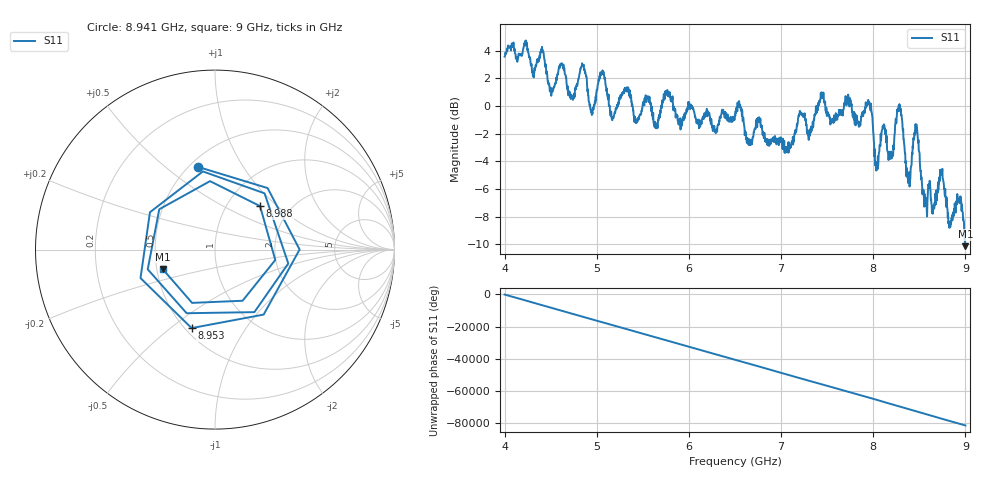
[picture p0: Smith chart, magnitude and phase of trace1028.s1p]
! Created with skrf 1.8.0 (http://scikit-rf.org).
# Hz S RI R 50.0
!freq ReS11 ImS11
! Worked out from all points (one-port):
!   1601 points, 4 GHz to 9 GHz, reference 50 ohm
!   lowest |S11| = -10.1 dB at 9 GHz (marker M1), VSWR 1.91, Z = 26.8 - j6.4 ohm
!   |S11| at or under -10 dB: 8.998785 GHz to end of sweep
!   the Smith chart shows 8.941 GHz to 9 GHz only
!   S11 on the Smith chart (normalised r, x): 8.941 GHz: 0.55, +0.65; 8.953 GHz: 0.54, -0.60; 8.988 GHz: 1.42, +0.78; 9 GHz: 0.54, -0.13
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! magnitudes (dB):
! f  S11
! 4 GHz  3.6
! 4.403 GHz  4.0
! 4.512 GHz  1.1
! 4.625 GHz  3.0
! 4.734 GHz  0.6
! 4.853 GHz  2.9
! 4.947 GHz  -0.6
! 5.053 GHz  2.4
! 5.162 GHz  -0.9
! 5.25 GHz  0.5
! 5.875 GHz  -0.7
! 6.5 GHz  -0.6
! 7.125 GHz  -2.7
! 7.75 GHz  0.2
! 7.959 GHz  0.2
! 8.038 GHz  -4.6
! 8.112 GHz  -1.5
! 8.191 GHz  -3.7
! 8.288 GHz  0.0
! 8.375 GHz  -5.2
! 8.459 GHz  -1.3
! 8.559 GHz  -6.8
! 8.741 GHz  -4.7
! 8.834 GHz  -8.7
! 8.941 GHz  -6.6
! 8.953 GHz  -6.8
! 8.988 GHz  -9.1
! 9 GHz  -10.1
